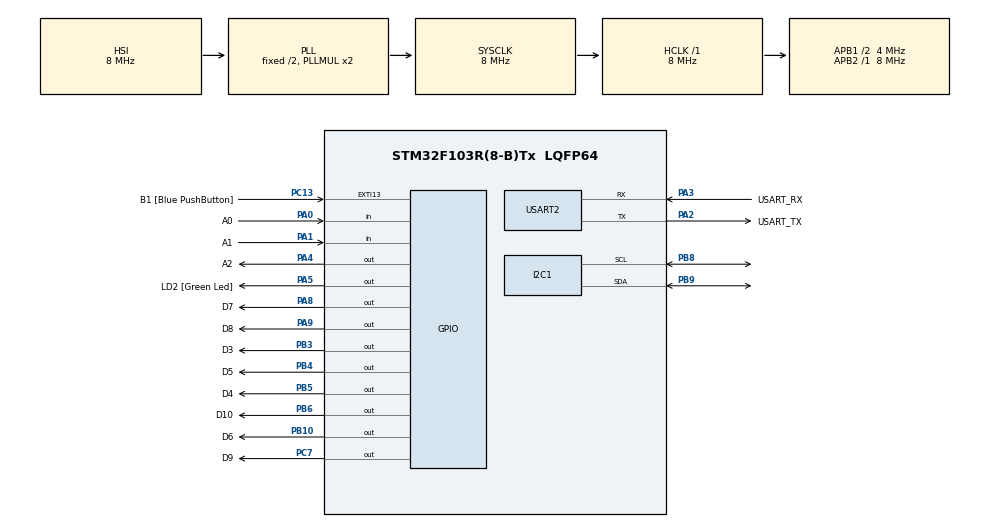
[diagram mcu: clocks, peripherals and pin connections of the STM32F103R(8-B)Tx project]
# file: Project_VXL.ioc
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Mcu.Family=STM32F1
Mcu.Name=STM32F103R(8-B)Tx
Mcu.Package=LQFP64
NVIC.EXTI15_10_IRQn=true\:0\:0\:false\:false\:true\:true\:true
NVIC.PriorityGroup=NVIC_PRIORITYGROUP_4
NVIC.TIM2_IRQn=true\:0\:0\:false\:false\:true\:true\:true
PA0-WKUP.GPIO_Label=A0
PA0-WKUP.GPIO_PuPd=GPIO_PULLUP
PA0-WKUP.Signal=GPIO_Input
PA1.GPIO_Label=A1
PA1.GPIO_PuPd=GPIO_PULLUP
PA1.Signal=GPIO_Input
PA13.GPIO_Label=TMS
PA13.Mode=Serial_Wire
PA13.Signal=SYS_JTMS-SWDIO
PA14.GPIO_Label=TCK
PA14.Mode=Serial_Wire
PA14.Signal=SYS_JTCK-SWCLK
PA2.GPIO_Label=USART_TX
PA2.GPIO_Mode=GPIO_MODE_AF_PP
PA2.GPIO_PuPd=GPIO_NOPULL
PA2.GPIO_Speed=GPIO_SPEED_FREQ_LOW
PA2.Mode=Asynchronous
PA2.Signal=USART2_TX
PA3.GPIO_Label=USART_RX
PA3.GPIO_Mode=GPIO_MODE_AF_PP
PA3.GPIO_PuPd=GPIO_NOPULL
PA3.GPIO_Speed=GPIO_SPEED_FREQ_LOW
PA3.Mode=Asynchronous
PA3.Signal=USART2_RX
PA4.GPIO_Label=A2
PA4.Signal=GPIO_Output
PA5.GPIO_Label=LD2 [Green Led]
PA5.GPIO_ModeDefaultOutputPP=GPIO_MODE_OUTPUT_PP
PA5.GPIO_PuPd=GPIO_NOPULL
PA5.GPIO_Speed=GPIO_SPEED_FREQ_LOW
PA5.Signal=GPIO_Output
PA8.GPIO_Label=D7
PA8.Signal=GPIO_Output
PA9.GPIO_Label=D8
PA9.Signal=GPIO_Output
PB10.GPIO_Label=D6
PB10.Signal=GPIO_Output
PB3.GPIO_Label=D3
PB3.Signal=GPIO_Output
PB4.GPIO_Label=D5
PB4.Signal=GPIO_Output
PB5.GPIO_Label=D4
PB5.Signal=GPIO_Output
PB6.GPIO_Label=D10
PB6.Signal=GPIO_Output
PB8.Mode=I2C
PB8.Signal=I2C1_SCL
PB9.Mode=I2C
PB9.Signal=I2C1_SDA
PC13-TAMPER-RTC.GPIO_Label=B1 [Blue PushButton]
PC13-TAMPER-RTC.GPIO_PuPd=GPIO_NOPULL
PC13-TAMPER-RTC.Signal=GPXTI13
PC14-OSC32_IN.Mode=LSE-External-Oscillator
PC14-OSC32_IN.Signal=RCC_OSC32_IN
PC15-OSC32_OUT.Mode=LSE-External-Oscillator
PC15-OSC32_OUT.Signal=RCC_OSC32_OUT
PC7.GPIO_Label=D9
PC7.Signal=GPIO_Output
PD0-OSC_IN.Mode=HSE-External-Clock-Source
PD0-OSC_IN.Signal=RCC_OSC_IN
PD1-OSC_OUT.Mode=HSE-External-Clock-Source
PD1-OSC_OUT.Signal=RCC_OSC_OUT
ProjectManager.HeapSize=0x200
ProjectManager.StackSize=0x400
ProjectManager.TargetToolchain=STM32CubeIDE
RCC.AHBFreq_Value=8000000
RCC.APB1CLKDivider=RCC_HCLK_DIV2
RCC.APB1Freq_Value=4000000
RCC.APB1TimFreq_Value=8000000
RCC.APB2Freq_Value=8000000
RCC.APB2TimFreq_Value=8000000
RCC.HCLKFreq_Value=8000000
RCC.RTCClockSelection=RCC_RTCCLKSOURCE_LSE
RCC.SYSCLKFreq_VALUE=8000000
RCC.SYSCLKSource=RCC_SYSCLKSOURCE_PLLCLK
RCC.USBFreq_Value=8000000
TIM2.Period=9
TIM2.Prescaler=7999
USART2.VirtualMode=VM_ASYNC
VP_TIM2_VS_ClockSourceINT.Mode=Internal
board=NUCLEO-F103RB

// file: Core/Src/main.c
/* USER CODE BEGIN Header */
/**
  ******************************************************************************
  * @file           : main.c
  * @brief          : Main program body
  ******************************************************************************
  * @attention
  *
  * <h2><center>&copy; Copyright (c) 2024 STMicroelectronics.
  * All rights reserved.</center></h2>
  *
  * This software component is licensed by ST under BSD 3-Clause license,
  * the "License"; You may not use this file except in compliance with the
  * License. You may obtain a copy of the License at:
  *                        opensource.org/licenses/BSD-3-Clause
  *
  ******************************************************************************
  */
/* USER CODE END Header */
#include "main.h"

/* USER CODE BEGIN Includes */
#include <fsm_edit.h>
#include <fsm_auto.h>
#include <fsm_setting.h>
#include <global_var.h>
#include <light_traffic.h>
#include <software_timer.h>
#include <button.h>
#include <i2c_LCD.h>
/* USER CODE END Includes */

I2C_HandleTypeDef hi2c1;

TIM_HandleTypeDef htim2;

UART_HandleTypeDef huart2;

void SystemClock_Config(void);
static void MX_GPIO_Init(void);
static void MX_USART2_UART_Init(void);
static void MX_I2C1_Init(void);
static void MX_TIM2_Init(void);

int main(void)
{

  /* MCU Configuration--------------------------------------------------------*/

  /* Reset of all peripherals, Initializes the Flash interface and the Systick. */
  HAL_Init();

  /* Configure the system clock */
  SystemClock_Config();

  /* Initialize all configured peripherals */
  MX_GPIO_Init();
  MX_USART2_UART_Init();
  MX_I2C1_Init();
  MX_TIM2_Init();
  lcd_init();
  /* USER CODE BEGIN 2 */
  HAL_TIM_Base_Start_IT(&htim2);
  /* USER CODE END 2 */

  /* Infinite loop */
  /* USER CODE BEGIN WHILE */
  while (1)
  {
	  fsm_auto_run();
	  fsm_edit();
	  fsm_config();
    /* USER CODE END WHILE */

  }
}

void SystemClock_Config(void)
{
  RCC_OscInitTypeDef RCC_OscInitStruct = {0};
  RCC_ClkInitTypeDef RCC_ClkInitStruct = {0};

  /** Initializes the RCC Oscillators according to the specified parameters
  * in the RCC_OscInitTypeDef structure.
  */
  RCC_OscInitStruct.OscillatorType = RCC_OSCILLATORTYPE_HSI;
  RCC_OscInitStruct.HSIState = RCC_HSI_ON;
  RCC_OscInitStruct.HSICalibrationValue = RCC_HSICALIBRATION_DEFAULT;
  RCC_OscInitStruct.PLL.PLLState = RCC_PLL_ON;
  RCC_OscInitStruct.PLL.PLLSource = RCC_PLLSOURCE_HSI_DIV2;
  RCC_OscInitStruct.PLL.PLLMUL = RCC_PLL_MUL2;
  if (HAL_RCC_OscConfig(&RCC_OscInitStruct) != HAL_OK)
  {
    Error_Handler();
  }
  /** Initializes the CPU, AHB and APB buses clocks
  */
  RCC_ClkInitStruct.ClockType = RCC_CLOCKTYPE_HCLK|RCC_CLOCKTYPE_SYSCLK
                              |RCC_CLOCKTYPE_PCLK1|RCC_CLOCKTYPE_PCLK2;
  RCC_ClkInitStruct.SYSCLKSource = RCC_SYSCLKSOURCE_PLLCLK;
  RCC_ClkInitStruct.AHBCLKDivider = RCC_SYSCLK_DIV1;
  RCC_ClkInitStruct.APB1CLKDivider = RCC_HCLK_DIV2;
  RCC_ClkInitStruct.APB2CLKDivider = RCC_HCLK_DIV1;

  if (HAL_RCC_ClockConfig(&RCC_ClkInitStruct, FLASH_LATENCY_0) != HAL_OK)
  {
    Error_Handler();
  }
}

static void MX_I2C1_Init(void)
{

  hi2c1.Instance = I2C1;
  hi2c1.Init.ClockSpeed = 100000;
  hi2c1.Init.DutyCycle = I2C_DUTYCYCLE_2;
  hi2c1.Init.OwnAddress1 = 0;
  hi2c1.Init.AddressingMode = I2C_ADDRESSINGMODE_7BIT;
  hi2c1.Init.DualAddressMode = I2C_DUALADDRESS_DISABLE;
  hi2c1.Init.OwnAddress2 = 0;
  hi2c1.Init.GeneralCallMode = I2C_GENERALCALL_DISABLE;
  hi2c1.Init.NoStretchMode = I2C_NOSTRETCH_DISABLE;
  if (HAL_I2C_Init(&hi2c1) != HAL_OK)
  {
    Error_Handler();
  }

}

static void MX_TIM2_Init(void)
{

  TIM_ClockConfigTypeDef sClockSourceConfig = {0};
  TIM_MasterConfigTypeDef sMasterConfig = {0};

  htim2.Instance = TIM2;
  htim2.Init.Prescaler = 7999;
  htim2.Init.CounterMode = TIM_COUNTERMODE_UP;
  htim2.Init.Period = 9;
  htim2.Init.ClockDivision = TIM_CLOCKDIVISION_DIV1;
  htim2.Init.AutoReloadPreload = TIM_AUTORELOAD_PRELOAD_DISABLE;
  if (HAL_TIM_Base_Init(&htim2) != HAL_OK)
  {
    Error_Handler();
  }
  sClockSourceConfig.ClockSource = TIM_CLOCKSOURCE_INTERNAL;
  if (HAL_TIM_ConfigClockSource(&htim2, &sClockSourceConfig) != HAL_OK)
  {
    Error_Handler();
  }
  sMasterConfig.MasterOutputTrigger = TIM_TRGO_RESET;
  sMasterConfig.MasterSlaveMode = TIM_MASTERSLAVEMODE_DISABLE;
  if (HAL_TIMEx_MasterConfigSynchronization(&htim2, &sMasterConfig) != HAL_OK)
  {
    Error_Handler();
  }

}

static void MX_USART2_UART_Init(void)
{

  huart2.Instance = USART2;
  huart2.Init.BaudRate = 115200;
  huart2.Init.WordLength = UART_WORDLENGTH_8B;
  huart2.Init.StopBits = UART_STOPBITS_1;
  huart2.Init.Parity = UART_PARITY_NONE;
  huart2.Init.Mode = UART_MODE_TX_RX;
  huart2.Init.HwFlowCtl = UART_HWCONTROL_NONE;
  huart2.Init.OverSampling = UART_OVERSAMPLING_16;
  if (HAL_UART_Init(&huart2) != HAL_OK)
  {
    Error_Handler();
  }

}

static void MX_GPIO_Init(void)
{
  GPIO_InitTypeDef GPIO_InitStruct = {0};

  /* GPIO Ports Clock Enable */
  __HAL_RCC_GPIOC_CLK_ENABLE();
  __HAL_RCC_GPIOD_CLK_ENABLE();
  __HAL_RCC_GPIOA_CLK_ENABLE();
  __HAL_RCC_GPIOB_CLK_ENABLE();

  /*Configure GPIO pin Output Level */
  HAL_GPIO_WritePin(GPIOA, A2_Pin|LD2_Pin|D7_Pin|D8_Pin, GPIO_PIN_RESET);

  /*Configure GPIO pin Output Level */
  HAL_GPIO_WritePin(GPIOB, D6_Pin|D3_Pin|D5_Pin|D4_Pin
                          |D10_Pin, GPIO_PIN_RESET);

  /*Configure GPIO pin Output Level */
  HAL_GPIO_WritePin(D9_GPIO_Port, D9_Pin, GPIO_PIN_RESET);

  /*Configure GPIO pin : B1_Pin */
  GPIO_InitStruct.Pin = B1_Pin;
  GPIO_InitStruct.Mode = GPIO_MODE_IT_RISING;
  GPIO_InitStruct.Pull = GPIO_NOPULL;
  HAL_GPIO_Init(B1_GPIO_Port, &GPIO_InitStruct);

  /*Configure GPIO pins : A0_Pin A1_Pin */
  GPIO_InitStruct.Pin = A0_Pin|A1_Pin;
  GPIO_InitStruct.Mode = GPIO_MODE_INPUT;
  GPIO_InitStruct.Pull = GPIO_PULLUP;
  HAL_GPIO_Init(GPIOA, &GPIO_InitStruct);

  /*Configure GPIO pins : A2_Pin LD2_Pin D7_Pin D8_Pin */
  GPIO_InitStruct.Pin = A2_Pin|LD2_Pin|D7_Pin|D8_Pin;
  GPIO_InitStruct.Mode = GPIO_MODE_OUTPUT_PP;
  GPIO_InitStruct.Pull = GPIO_NOPULL;
  GPIO_InitStruct.Speed = GPIO_SPEED_FREQ_LOW;
  HAL_GPIO_Init(GPIOA, &GPIO_InitStruct);

  /*Configure GPIO pins : D6_Pin D3_Pin D5_Pin D4_Pin
                           D10_Pin */
  GPIO_InitStruct.Pin = D6_Pin|D3_Pin|D5_Pin|D4_Pin
                          |D10_Pin;
  GPIO_InitStruct.Mode = GPIO_MODE_OUTPUT_PP;
  GPIO_InitStruct.Pull = GPIO_NOPULL;
  GPIO_InitStruct.Speed = GPIO_SPEED_FREQ_LOW;
  HAL_GPIO_Init(GPIOB, &GPIO_InitStruct);

  /*Configure GPIO pin : D9_Pin */
  GPIO_InitStruct.Pin = D9_Pin;
  GPIO_InitStruct.Mode = GPIO_MODE_OUTPUT_PP;
  GPIO_InitStruct.Pull = GPIO_NOPULL;
  GPIO_InitStruct.Speed = GPIO_SPEED_FREQ_LOW;
  HAL_GPIO_Init(D9_GPIO_Port, &GPIO_InitStruct);

  /* EXTI interrupt init*/
  HAL_NVIC_SetPriority(EXTI15_10_IRQn, 0, 0);
  HAL_NVIC_EnableIRQ(EXTI15_10_IRQn);

}

/* USER CODE BEGIN 4 */
void HAL_TIM_PeriodElapsedCallback(TIM_HandleTypeDef * htim)
{
	timerRun();
	getKeyInput();
}
/* USER CODE END 4 */

void Error_Handler(void)
{
  __disable_irq();
  while (1)
  {
  }
}

/************************ (C) COPYRIGHT STMicroelectronics *****END OF FILE****/
